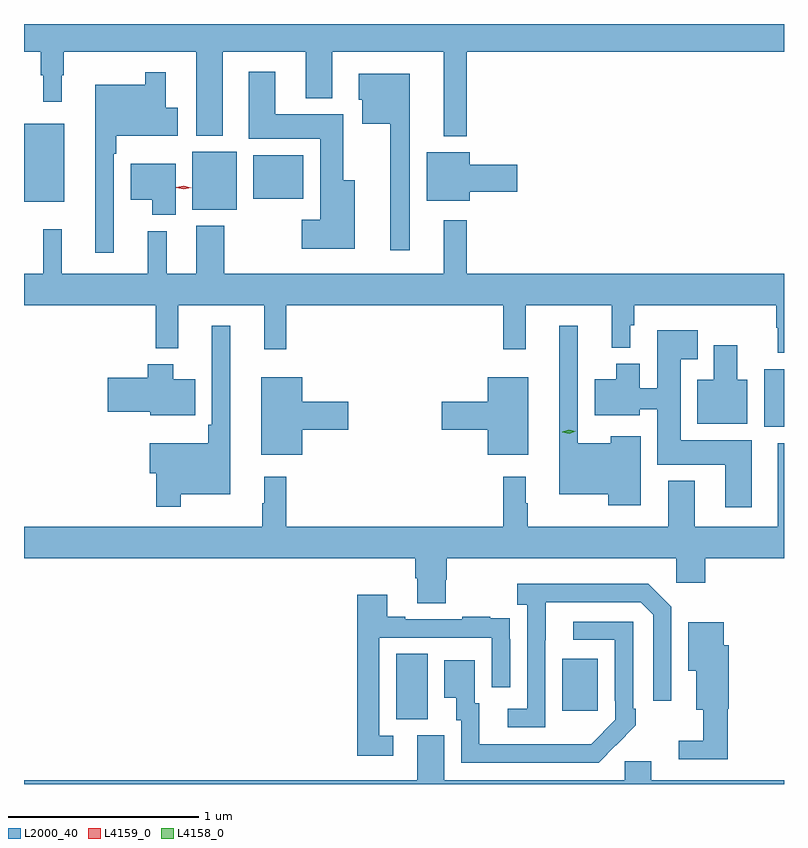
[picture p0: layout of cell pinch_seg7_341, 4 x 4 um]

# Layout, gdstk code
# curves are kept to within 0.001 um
import gdstk
lib = gdstk.Library(unit=1e-6, precision=1e-09)
def R(c, l, rs):  # rectangles x0, y0, x1, y1
    for r in rs: c.add(gdstk.rectangle(r[:2], r[2:], *l))
def P(c, l, *ps):  # polygons
    for p in ps: c.add(gdstk.Polygon(p, *l))
L2000_40 = (2000, 40)
L4158_0 = (4158, 0)
L4159_0 = (4159, 0)

pinch_seg7_341 = lib.new_cell('pinch_seg7_341')
R(pinch_seg7_341, L2000_40, [(421.73,1003.765,421.894,1004.108), (422.603,1003.809,422.791,1004.083), (423.665,1005.302,423.77,1005.607), (420.656,1006.445,420.889,1006.75), (419.77,1006.487,419.983,1006.897), (420.977,1006.502,421.24,1006.732)])
P(pinch_seg7_341, L2000_40, [(419.77,1007.276),(419.859,1007.276),(419.859,1007.153),(419.87,1007.153),(419.87,1007.013),(419.968,1007.013),(419.968,1007.153),(419.98,1007.153),(419.98,1007.276),(420.677,1007.276),(420.677,1006.835),(420.817,1006.835),(420.817,1007.276),(421.253,1007.276),(421.253,1007.033),(421.393,1007.033),(421.393,1007.276),(421.979,1007.276),(421.979,1006.832),(422.101,1006.832),(422.101,1007.276),(423.77,1007.276),(423.77,1007.423),(419.77,1007.423)],
  [(421.51,1006.6),(421.45,1006.6),(421.45,1006.948),(421.093,1006.948),(421.093,1007.173),(420.953,1007.173),(420.953,1006.82),(421.328,1006.82),(421.328,1006.393),(421.233,1006.393),(421.233,1006.241),(421.51,1006.241)],
  [(420.243,1006.739),(420.256,1006.739),(420.256,1006.835),(420.58,1006.835),(420.58,1006.983),(420.517,1006.983),(420.517,1007.17),(420.408,1007.17),(420.408,1007.104),(420.146,1007.104),(420.146,1006.218),(420.243,1006.218)],
  [(421.801,1007.161),(421.532,1007.161),(421.532,1007.025),(421.55,1007.025),(421.55,1006.898),(421.697,1006.898),(421.697,1006.233),(421.801,1006.233)],
  [(422.116,1006.54),(422.365,1006.54),(422.365,1006.682),(422.116,1006.682),(422.116,1006.747),(421.889,1006.747),(421.889,1006.493),(422.116,1006.493)],
  [(420.568,1006.687),(420.332,1006.687),(420.332,1006.499),(420.446,1006.499),(420.446,1006.418),(420.568,1006.418)],
  [(423.77,1006.108),(422.101,1006.108),(422.101,1006.39),(421.979,1006.39),(421.979,1006.108),(420.825,1006.108),(420.825,1006.36),(420.677,1006.36),(420.677,1006.108),(420.52,1006.108),(420.52,1006.333),(420.422,1006.333),(420.422,1006.108),(419.969,1006.108),(419.969,1006.342),(419.87,1006.342),(419.87,1006.108),(419.77,1006.108),(419.77,1005.944),(420.463,1005.944),(420.463,1005.716),(420.581,1005.716),(420.581,1005.944),(421.034,1005.944),(421.034,1005.711),(421.151,1005.711),(421.151,1005.944),(422.293,1005.944),(422.293,1005.711),(422.411,1005.711),(422.411,1005.944),(422.864,1005.944),(422.864,1005.719),(422.962,1005.719),(422.962,1005.837),(422.981,1005.837),(422.981,1005.944),(423.73,1005.944),(423.73,1005.824),(423.737,1005.824),(423.737,1005.692),(423.77,1005.692)],
  [(420.595,1004.948),(420.856,1004.948),(420.856,1005.835),(420.759,1005.835),(420.759,1005.313),(420.739,1005.313),(420.739,1005.217),(420.432,1005.217),(420.432,1005.059),(420.466,1005.059),(420.466,1004.883),(420.595,1004.883)],
  [(423.016,1005.253),(422.858,1005.253),(422.858,1005.217),(422.685,1005.217),(422.685,1005.835),(422.588,1005.835),(422.588,1004.948),(422.846,1004.948),(422.846,1004.891),(423.016,1004.891)],
  [(423.601,1005.232),(423.226,1005.232),(423.226,1005.659),(423.316,1005.659),(423.316,1005.811),(423.104,1005.811),(423.104,1005.505),(423.01,1005.505),(423.01,1005.634),(422.888,1005.634),(422.888,1005.553),(422.774,1005.553),(422.774,1005.365),(423.01,1005.365),(423.01,1005.395),(423.104,1005.395),(423.104,1005.104),(423.461,1005.104),(423.461,1004.88),(423.601,1004.88)],
  [(423.577,1005.55),(423.523,1005.55),(423.523,1005.733),(423.401,1005.733),(423.401,1005.55),(423.314,1005.55),(423.314,1005.32),(423.577,1005.32)],
  [(420.67,1005.553),(420.556,1005.553),(420.556,1005.631),(420.422,1005.631),(420.422,1005.561),(420.21,1005.561),(420.21,1005.383),(420.434,1005.383),(420.434,1005.365),(420.67,1005.365)],
  [(421.234,1005.287),(421.477,1005.287),(421.477,1005.434),(421.234,1005.434),(421.234,1005.565),(421.019,1005.565),(421.019,1005.155),(421.234,1005.155)],
  [(422.425,1005.565),(422.21,1005.565),(422.21,1005.434),(421.968,1005.434),(421.968,1005.287),(422.21,1005.287),(422.21,1005.155),(422.425,1005.155)],
  [(423.356,1004.612),(423.77,1004.612),(423.77,1005.217),(423.737,1005.217),(423.737,1004.776),(423.301,1004.776),(423.301,1005.019),(423.161,1005.019),(423.161,1004.776),(422.422,1004.776),(422.422,1004.9),(422.41,1004.9),(422.41,1005.04),(422.293,1005.04),(422.293,1004.776),(421.151,1004.776),(421.151,1005.04),(421.034,1005.04),(421.034,1004.9),(421.023,1004.9),(421.023,1004.776),(419.77,1004.776),(419.77,1004.612),(421.829,1004.612),(421.829,1004.506),(421.841,1004.506),(421.841,1004.374),(421.989,1004.374),(421.989,1004.499),(421.994,1004.499),(421.994,1004.612),(423.204,1004.612),(423.204,1004.481),(423.356,1004.481)],
  [(422.514,1004.179),(422.515,1004.379),(423.015,1004.379),(423.081,1004.313),(423.081,1003.86),(423.177,1003.86),(423.177,1004.355),(423.056,1004.476),(422.367,1004.476),(422.367,1004.366),(422.418,1004.366),(422.418,1003.818),(422.316,1003.818),(422.316,1003.722),(422.514,1003.722)],
  [(421.714,1003.677),(421.641,1003.677),(421.641,1004.193),(422.232,1004.193),(422.232,1003.932),(422.328,1003.932),(422.328,1004.186),(422.327,1004.186),(422.327,1004.295),(422.225,1004.295),(422.225,1004.302),(422.077,1004.302),(422.077,1004.289),(421.777,1004.289),(421.777,1004.302),(421.681,1004.302),(421.681,1004.419),(421.525,1004.419),(421.525,1003.572),(421.714,1003.572)],
  [(422.885,1003.627),(422.886,1003.626),(422.991,1003.731),(422.991,1003.819),(422.976,1003.819),(422.976,1004.277),(422.661,1004.277),(422.661,1004.181),(422.88,1004.181),(422.88,1003.861),(422.883,1003.861),(422.883,1003.761),(422.755,1003.633),(422.167,1003.632),(422.167,1003.848),(422.143,1003.848),(422.143,1004.074),(421.982,1004.074),(421.982,1003.877),(422.045,1003.877),(422.045,1003.758),(422.07,1003.758),(422.07,1003.536),(422.794,1003.536)],
  [(423.473,1003.818),(423.479,1003.818),(423.479,1004.154),(423.454,1004.154),(423.454,1004.275),(423.266,1004.275),(423.266,1004.018),(423.308,1004.018),(423.308,1003.814),(423.345,1003.814),(423.345,1003.651),(423.216,1003.651),(423.216,1003.554),(423.473,1003.554)],
  [(423.77,1003.444),(423.07,1003.444),(423.07,1003.542),(422.931,1003.542),(422.931,1003.444),(421.981,1003.444),(421.981,1003.68),(421.841,1003.68),(421.841,1003.444),(419.77,1003.444),(419.77,1003.423),(423.77,1003.423)])
P(pinch_seg7_341, L4158_0, [(422.64,1005.267),(422.604,1005.275),(422.603,1005.275),(422.604,1005.276),(422.638,1005.287),(422.674,1005.28),(422.675,1005.279),(422.674,1005.279)])
P(pinch_seg7_341, L4159_0, [(420.611,1006.552),(420.572,1006.562),(420.572,1006.563),(420.572,1006.563),(420.611,1006.572),(420.65,1006.562),(420.65,1006.562),(420.65,1006.562)])

lib.write_gds('pinch_seg7_341.gds')
